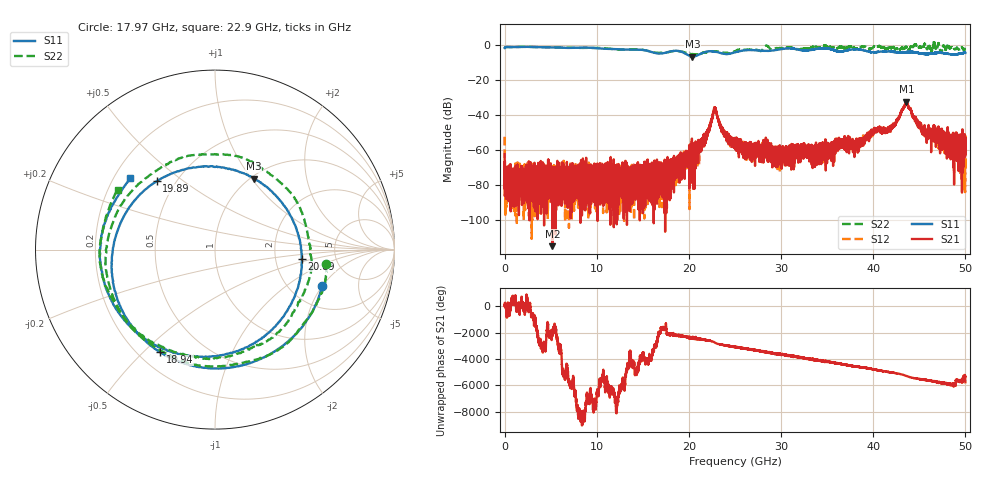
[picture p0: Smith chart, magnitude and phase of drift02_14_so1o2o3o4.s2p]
!Created with skrf (http://scikit-rf.org).
# Hz S RI R 50.0
!freq ReS11 ImS11 ReS21 ImS21 ReS12 ImS12 ReS22 ImS22
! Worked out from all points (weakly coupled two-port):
!   10001 points, 300 kHz to 50 GHz, reference 50 ohm
!   highest |S21| = -32.74 dB at 43.61 GHz (marker M1); lowest = -115.2 dB at 5.18 GHz (marker M2)
!   lowest |S11| = -6.9 dB at 20.38 GHz (marker M3), VSWR 2.64, Z = 51.6 + j51.2 ohm
!   |S11| at or under -10 dB: nowhere
!   |S22| runs from -5.7 to 2.3 dB; largest |S21 - S12| = 0.0035
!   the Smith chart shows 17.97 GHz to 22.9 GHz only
!   S11 on the Smith chart (normalised r, x): 17.97 GHz: 2.95, -1.99; 18.94 GHz: 0.29, -0.56; 19.89 GHz: 0.39, +0.40; 20.89 GHz: 2.84, -0.37; 22.9 GHz: 0.27, +0.34
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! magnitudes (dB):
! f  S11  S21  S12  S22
! 300 kHz  -2.1  -62.6  -52.7  -2.1
! 265.3 MHz  -1.4  -75.8  -78.4  -1.4
! 5.18 GHz  -1.6  -115.2  -75.0  -1.6
! 8.335 GHz  -1.7  -72.1  -70.0  -1.9
! 16.67 GHz  -5.2  -81.1  -76.4  -4.7
! 17.97 GHz  -4.0  -80.0  -76.9  -4.1
! 18.94 GHz  -3.8  -66.8  -70.5  -3.9
! 19.89 GHz  -6.0  -64.1  -63.8  -5.1
! 20.38 GHz  -6.9  -65.3  -58.9  -5.4
! 20.89 GHz  -6.3  -56.8  -58.9  -5.6
! 22.9 GHz  -4.2  -36.5  -36.7  -3.9
! 23.75 GHz  -5.3  -49.7  -49.6  -4.6
! 25 GHz  -4.5  -54.8  -55.7  -3.9
! 29.88 GHz  -2.7  -62.1  -64.1  -2.0
! 33.34 GHz  -3.1  -57.5  -60.3  -1.6
! 38.15 GHz  -2.8  -53.9  -56.5  -2.5
! 40.27 GHz  -4.4  -48.2  -48.8  -0.8
! 41.67 GHz  -4.0  -48.7  -48.4  -1.8
! 43.61 GHz  -4.3  -32.7  -33.3  -1.5
! 45.72 GHz  -5.4  -51.7  -52.8  -1.0
! 48.53 GHz  -5.6  -55.9  -59.3  -1.6
! 50 GHz  -4.8  -56.8  -55.8  -2.6
